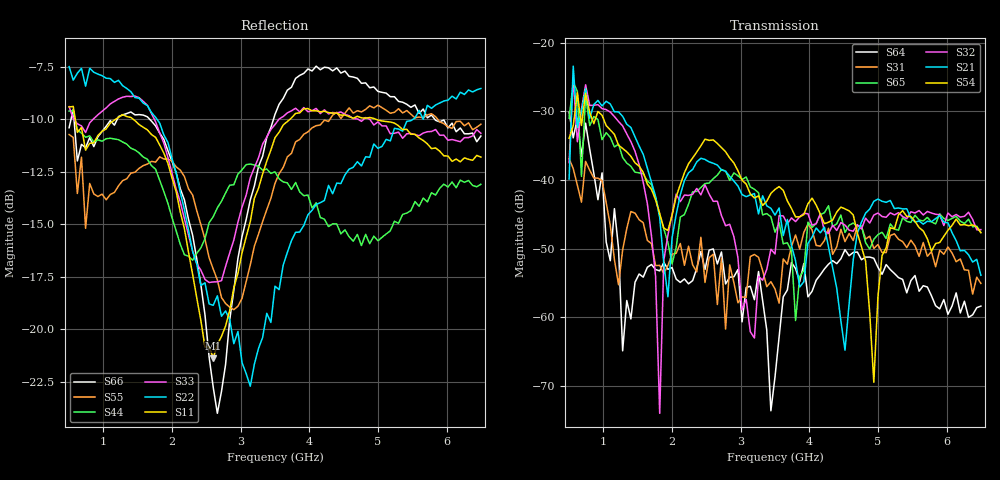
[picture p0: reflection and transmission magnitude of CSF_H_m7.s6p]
!Keysight Technologies,M9804A,MY58100912,A.14.10.03
!Date: Thursday, April 27, 2023 10:28:33
!Correction: S11(C  6-Port  )
!S12(C  6-Port  )
!S13(C  6-Port  )
!S14(C  6-Port  )
!S15(C  6-Port  )
!S16(C  6-Port  )
!S21(C  6-Port  )
!S22(C  6-Port  )
!S23(C  6-Port  )
!S24(C  6-Port  )
!S25(C  6-Port  )
!S26(C  6-Port  )
!S31(C  6-Port  )
!S32(C  6-Port  )
!S33(C  6-Port  )
!S34(C  6-Port  )
!S35(C  6-Port  )
!S36(C  6-Port  )
!S41(C  6-Port  )
!S42(C  6-Port  )
!S43(C  6-Port  )
!S44(C  6-Port  )
!S45(C  6-Port  )
!S46(C  6-Port  )
!S51(C  6-Port  )
!S52(C  6-Port  )
!S53(C  6-Port  )
!S54(C  6-Port  )
!S55(C  6-Port  )
!S56(C  6-Port  )
!S61(C  6-Port  )
!S62(C  6-Port  )
!S63(C  6-Port  )
!S64(C  6-Port  )
!S65(C  6-Port  )
!S66(C  6-Port  )
!S6P File: Measurement: :
# Hz S  RI  R 50
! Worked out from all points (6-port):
!   101 points, 500 MHz to 6.5 GHz, reference 50 ohm
!   strongest paths, dB at 500 MHz, 2 GHz, 3.5 GHz, 5 GHz, 6.5 GHz:
!     S54: -33.9, -45.1, -41.4, -56.9, -47.7
!     S21: -39.9, -48.4, -45.1, -42.8, -53.9
!     S32: -37.5, -45.0, -50.8, -44.8, -47.2
!     S65: -31.0, -52.2, -47.6, -47.9, -47.7
!     S31: -36.9, -50.8, -55.8, -49.4, -55.0
!     S64: -30.1, -52.7, -68.7, -52.7, -58.3
!   lowest |S11| = -21.4 dB at 2.6 GHz (marker M1), VSWR 1.19, Z = 42.4 + j2.16 ohm
!   |S11| at or under -10 dB: 590.2 MHz to 1.173 GHz (582.4 MHz wide, 66.1 % of centre); 1.438 GHz to 3.714 GHz (2.276 GHz wide, 88.3 % of centre); 4.978 GHz to end of sweep
